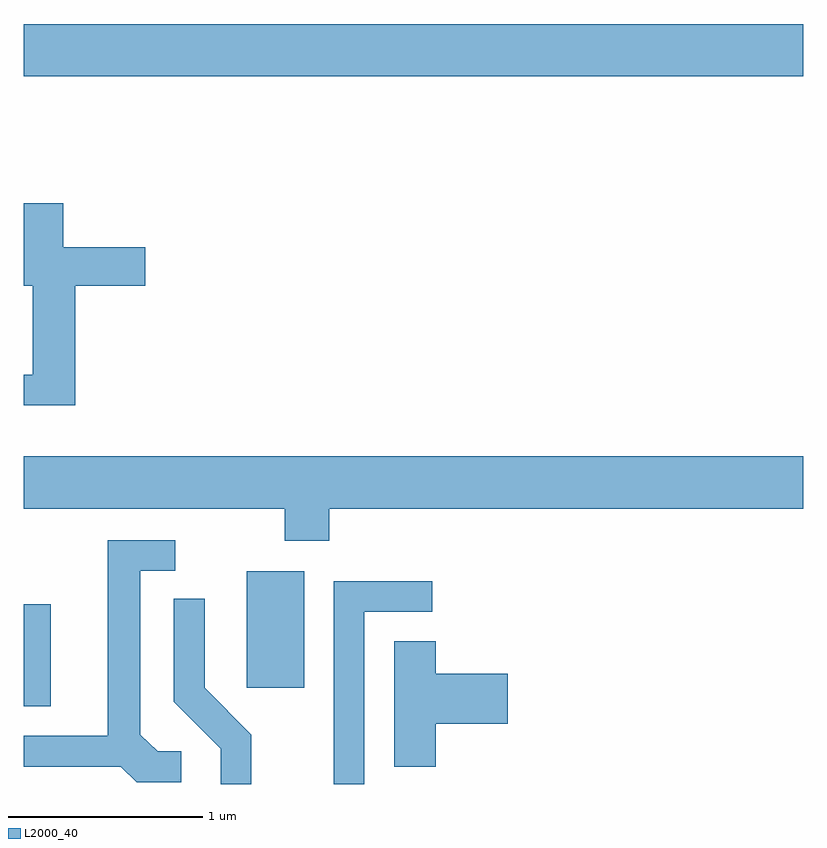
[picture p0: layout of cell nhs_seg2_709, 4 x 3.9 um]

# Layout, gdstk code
import gdstk
lib = gdstk.Library(unit=1e-6, precision=1e-09)
def R(c, l, rs):  # rectangles x0, y0, x1, y1
    for r in rs: c.add(gdstk.rectangle(r[:2], r[2:], *l))
def P(c, l, *ps):  # polygons
    for p in ps: c.add(gdstk.Polygon(p, *l))
L2000_40 = (2000, 40)

nhs_seg2_709 = lib.new_cell('nhs_seg2_709')
R(nhs_seg2_709, L2000_40, [(205.611,1036.201,205.749,1036.724), (206.756,1036.296,207.049,1036.894), (205.611,1039.436,209.611,1039.704)])
P(nhs_seg2_709, L2000_40, [(205.874,1038.361),(206.234,1038.361),(206.234,1038.559),(205.814,1038.559),(205.814,1038.784),(205.611,1038.784),(205.611,1038.361),(205.656,1038.361),(205.656,1037.904),(205.611,1037.904),(205.611,1037.746),(205.874,1037.746)],
  [(207.179,1037.216),(209.611,1037.216),(209.611,1037.484),(205.611,1037.484),(205.611,1037.216),(206.951,1037.216),(206.951,1037.051),(207.179,1037.051)],
  [(206.418,1035.969),(206.297,1035.969),(206.209,1036.056),(206.209,1036.896),(206.388,1036.896),(206.388,1037.054),(206.041,1037.054),(206.041,1036.049),(205.611,1036.049),(205.611,1035.891),(206.109,1035.891),(206.189,1035.811),(206.418,1035.811)],
  [(207.359,1036.686),(207.708,1036.686),(207.708,1036.844),(207.201,1036.844),(207.201,1035.802),(207.359,1035.802)],
  [(206.779,1036.056),(206.539,1036.296),(206.539,1036.753),(206.381,1036.753),(206.381,1036.224),(206.621,1035.984),(206.621,1035.802),(206.779,1035.802)],
  [(207.724,1036.111),(208.094,1036.111),(208.094,1036.369),(207.724,1036.369),(207.724,1036.534),(207.511,1036.534),(207.511,1035.891),(207.724,1035.891)])

lib.write_gds('nhs_seg2_709.gds')
